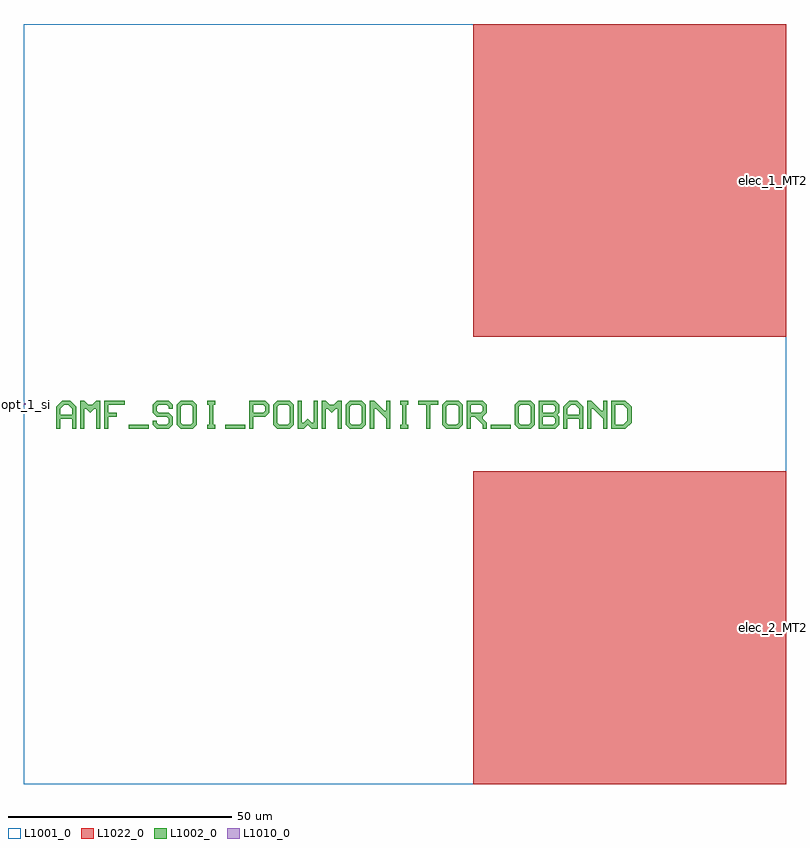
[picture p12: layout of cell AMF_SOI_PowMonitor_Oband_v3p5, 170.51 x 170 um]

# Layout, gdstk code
import gdstk
lib = gdstk.Library(unit=1e-6, precision=1e-09)
def R(c, l, rs):  # rectangles x0, y0, x1, y1
    for r in rs: c.add(gdstk.rectangle(r[:2], r[2:], *l))
def P(c, l, *ps):  # polygons
    for p in ps: c.add(gdstk.Polygon(p, *l))
L1001_0 = (1001, 0)
L1002_0 = (1002, 0)
L1010_0 = (1010, 0)
L1022_0 = (1022, 0)

amf_soi_powmonitor_oband = lib.new_cell('AMF_SOI_PowMonitor_Oband_v3p5')
R(amf_soi_powmonitor_oband, L1001_0, [(0,-85,170.51,85)])
R(amf_soi_powmonitor_oband, L1002_0, [(23.423,-5.572,27.923,-4.672), (45.023,-5.572,49.523,-4.672), (104.423,-5.572,108.923,-4.672)])
P(amf_soi_powmonitor_oband, L1002_0, [(7.223,-5.572),(7.223,-0.622),(8.573,0.728),(10.373,0.728),(11.273,-0.172),(9.023,-0.172),(8.123,-1.072),(8.123,-2.422),(10.823,-2.422),(10.823,-1.072),(9.923,-0.172),(11.273,-0.172),(11.723,-0.622),(11.723,-5.572),(10.823,-5.572),(10.823,-3.322),(8.123,-3.322),(8.123,-5.572)],
  [(12.623,-5.572),(12.623,0.728),(13.523,0.728),(14.423,-0.172),(15.323,-0.172),(16.223,0.728),(17.123,0.728),(17.123,-5.572),(16.223,-5.572),(16.223,-1.072),(15.773,-1.072),(14.873,-1.972),(13.973,-1.072),(13.523,-1.072),(13.523,-5.572)],
  [(18.023,-5.572),(18.023,0.728),(22.523,0.728),(22.523,-0.172),(18.923,-0.172),(18.923,-1.972),(20.723,-1.972),(20.723,-2.872),(18.923,-2.872),(18.923,-5.572)],
  [(29.723,-5.572),(28.823,-4.672),(28.823,-3.772),(29.723,-3.772),(29.723,-4.222),(30.173,-4.672),(31.973,-4.672),(32.423,-4.222),(32.423,-3.322),(31.973,-2.872),(29.723,-2.872),(28.823,-1.972),(28.823,-0.172),(29.723,0.728),(32.423,0.728),(33.323,-0.172),(33.323,-1.072),(32.423,-1.072),(32.423,-0.622),(31.973,-0.172),(30.173,-0.172),(29.723,-0.622),(29.723,-1.522),(30.173,-1.972),(32.423,-1.972),(33.323,-2.872),(33.323,-4.672),(32.423,-5.572)],
  [(35.123,-5.572),(34.223,-4.672),(34.223,-0.172),(35.123,0.728),(37.823,0.728),(38.723,-0.172),(38.723,-2.422),(37.823,-2.422),(37.823,-0.622),(37.373,-0.172),(35.573,-0.172),(35.123,-0.622),(35.123,-4.222),(35.573,-4.672),(37.373,-4.672),(37.823,-4.222),(37.823,-2.422),(38.723,-2.422),(38.723,-4.672),(37.823,-5.572)],
  [(40.973,-5.572),(40.973,-4.672),(41.423,-4.672),(41.423,-0.172),(40.973,-0.172),(40.973,0.728),(42.773,0.728),(42.773,-0.172),(42.323,-0.172),(42.323,-4.672),(42.773,-4.672),(42.773,-5.572)],
  [(50.423,-5.572),(50.423,0.728),(54.023,0.728),(54.923,-0.172),(54.923,-1.972),(54.023,-2.872),(51.323,-2.872),(51.323,-1.972),(53.573,-1.972),(54.023,-1.522),(54.023,-0.622),(53.573,-0.172),(51.323,-0.172),(51.323,-5.572)],
  [(56.723,-5.572),(55.823,-4.672),(55.823,-0.172),(56.723,0.728),(59.423,0.728),(60.323,-0.172),(60.323,-2.422),(59.423,-2.422),(59.423,-0.622),(58.973,-0.172),(57.173,-0.172),(56.723,-0.622),(56.723,-4.222),(57.173,-4.672),(58.973,-4.672),(59.423,-4.222),(59.423,-2.422),(60.323,-2.422),(60.323,-4.672),(59.423,-5.572)],
  [(61.223,-5.572),(61.223,0.728),(62.123,0.728),(62.123,-4.222),(62.573,-4.222),(63.473,-3.322),(64.373,-4.222),(64.823,-4.222),(64.823,0.728),(65.723,0.728),(65.723,-5.572),(64.373,-5.572),(63.473,-4.672),(62.573,-5.572)],
  [(66.623,-5.572),(66.623,0.728),(67.523,0.728),(68.423,-0.172),(69.323,-0.172),(70.223,0.728),(71.123,0.728),(71.123,-5.572),(70.223,-5.572),(70.223,-1.072),(69.773,-1.072),(68.873,-1.972),(67.973,-1.072),(67.523,-1.072),(67.523,-5.572)],
  [(72.923,-5.572),(72.023,-4.672),(72.023,-0.172),(72.923,0.728),(75.623,0.728),(76.523,-0.172),(76.523,-2.422),(75.623,-2.422),(75.623,-0.622),(75.173,-0.172),(73.373,-0.172),(72.923,-0.622),(72.923,-4.222),(73.373,-4.672),(75.173,-4.672),(75.623,-4.222),(75.623,-2.422),(76.523,-2.422),(76.523,-4.672),(75.623,-5.572)],
  [(77.423,-5.572),(77.423,0.728),(78.323,0.728),(80.573,-1.522),(81.023,-1.522),(81.023,0.728),(81.923,0.728),(81.923,-5.572),(81.023,-5.572),(81.023,-3.322),(78.773,-1.072),(78.323,-1.072),(78.323,-5.572)],
  [(84.173,-5.572),(84.173,-4.672),(84.623,-4.672),(84.623,-0.172),(84.173,-0.172),(84.173,0.728),(85.973,0.728),(85.973,-0.172),(85.523,-0.172),(85.523,-4.672),(85.973,-4.672),(85.973,-5.572)],
  [(90.023,-5.572),(90.023,-0.172),(88.223,-0.172),(88.223,0.728),(92.723,0.728),(92.723,-0.172),(90.923,-0.172),(90.923,-5.572)],
  [(94.523,-5.572),(93.623,-4.672),(93.623,-0.172),(94.523,0.728),(97.223,0.728),(98.123,-0.172),(98.123,-2.422),(97.223,-2.422),(97.223,-0.622),(96.773,-0.172),(94.973,-0.172),(94.523,-0.622),(94.523,-4.222),(94.973,-4.672),(96.773,-4.672),(97.223,-4.222),(97.223,-2.422),(98.123,-2.422),(98.123,-4.672),(97.223,-5.572)],
  [(99.023,-5.572),(99.023,0.728),(102.623,0.728),(103.523,-0.172),(99.923,-0.172),(99.923,-1.972),(102.173,-1.972),(102.623,-1.522),(102.623,-0.622),(102.173,-0.172),(103.523,-0.172),(103.523,-1.972),(102.623,-2.872),(102.623,-3.322),(103.523,-4.222),(103.523,-5.572),(102.623,-5.572),(102.623,-4.672),(100.823,-2.872),(99.923,-2.872),(99.923,-5.572)],
  [(110.723,-5.572),(109.823,-4.672),(109.823,-0.172),(110.723,0.728),(113.423,0.728),(114.323,-0.172),(114.323,-2.422),(113.423,-2.422),(113.423,-0.622),(112.973,-0.172),(111.173,-0.172),(110.723,-0.622),(110.723,-4.222),(111.173,-4.672),(112.973,-4.672),(113.423,-4.222),(113.423,-2.422),(114.323,-2.422),(114.323,-4.672),(113.423,-5.572)],
  [(115.223,-5.572),(115.223,0.728),(118.823,0.728),(119.723,-0.172),(116.123,-0.172),(116.123,-1.972),(118.373,-1.972),(118.823,-1.522),(118.823,-0.622),(118.373,-0.172),(119.723,-0.172),(119.723,-1.972),(119.273,-2.422),(119.723,-2.872),(116.123,-2.872),(116.123,-4.672),(118.373,-4.672),(118.823,-4.222),(118.823,-3.322),(118.373,-2.872),(119.723,-2.872),(119.723,-4.672),(118.823,-5.572)],
  [(120.623,-5.572),(120.623,-0.622),(121.973,0.728),(123.773,0.728),(124.673,-0.172),(122.423,-0.172),(121.523,-1.072),(121.523,-2.422),(124.223,-2.422),(124.223,-1.072),(123.323,-0.172),(124.673,-0.172),(125.123,-0.622),(125.123,-5.572),(124.223,-5.572),(124.223,-3.322),(121.523,-3.322),(121.523,-5.572)],
  [(126.023,-5.572),(126.023,0.728),(126.923,0.728),(129.173,-1.522),(129.623,-1.522),(129.623,0.728),(130.523,0.728),(130.523,-5.572),(129.623,-5.572),(129.623,-3.322),(127.373,-1.072),(126.923,-1.072),(126.923,-5.572)],
  [(131.423,-5.572),(131.423,0.728),(134.573,0.728),(135.473,-0.172),(132.323,-0.172),(132.323,-4.672),(134.123,-4.672),(135.023,-3.772),(135.023,-1.072),(134.123,-0.172),(135.473,-0.172),(135.923,-0.622),(135.923,-4.222),(134.573,-5.572)])
R(amf_soi_powmonitor_oband, L1010_0, [(0,-0.205,0.41,0.205)])
R(amf_soi_powmonitor_oband, L1022_0, [(100.51,-85,170.51,-15), (100.51,15,170.51,85)])
amf_soi_powmonitor_oband.add(gdstk.Label('opt_1_si', (0,0), layer=1010, texttype=0))
amf_soi_powmonitor_oband.add(gdstk.Label('elec_1_MT2', (170.51,50), layer=1022, texttype=0))
amf_soi_powmonitor_oband.add(gdstk.Label('elec_2_MT2', (170.51,-50), layer=1022, texttype=0))

lib.write_gds('AMF_SOI_PowMonitor_Oband_v3p5.gds')
